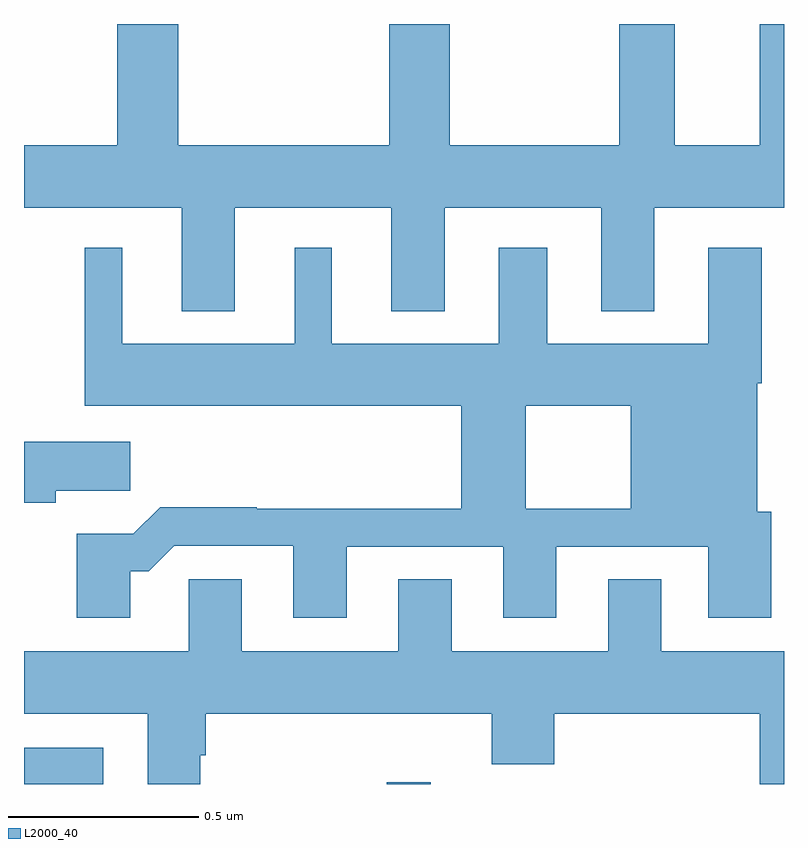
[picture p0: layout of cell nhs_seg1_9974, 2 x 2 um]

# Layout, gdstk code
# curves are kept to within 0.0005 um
import gdstk
lib = gdstk.Library(unit=1e-6, precision=1e-09)
def R(c, l, rs):  # rectangles x0, y0, x1, y1
    for r in rs: c.add(gdstk.rectangle(r[:2], r[2:], *l))
def P(c, l, *ps):  # polygons
    for p in ps: c.add(gdstk.Polygon(p, *l))
L2000_40 = (2000, 40)

nhs_seg1_9974 = lib.new_cell('nhs_seg1_9974')
R(nhs_seg1_9974, L2000_40, [(235,566.199,235.209,566.295), (235.955,566.199,236.07,566.203)])
P(nhs_seg1_9974, L2000_40, [(235.555,567.716),(235.967,567.716),(235.967,567.443),(236.107,567.443),(236.107,567.716),(236.519,567.716),(236.519,567.443),(236.659,567.443),(236.659,567.716),(237,567.716),(237,568.199),(236.936,568.199),(236.936,567.88),(236.713,567.88),(236.713,568.199),(236.566,568.199),(236.566,567.88),(236.121,567.88),(236.121,568.199),(235.961,568.199),(235.961,567.88),(235.406,567.88),(235.406,568.199),(235.246,568.199),(235.246,567.88),(235,567.88),(235,567.716),(235.415,567.716),(235.415,567.443),(235.555,567.443)],
  [(235.613,566.927),(235.358,566.927),(235.288,566.857),(235.139,566.857),(235.139,566.637),(235.279,566.637),(235.279,566.759),(235.328,566.759),(235.395,566.826),(235.709,566.826),(235.709,566.637),(235.849,566.637),(235.849,566.823),(236.261,566.823),(236.261,566.637),(236.401,566.637),(236.401,566.823),(236.801,566.823),(236.801,566.637),(236.966,566.637),(236.966,566.916),(236.929,566.916),(236.929,567.254),(236.942,567.254),(236.942,567.61),(236.801,567.61),(236.801,567.358),(236.377,567.358),(236.377,567.61),(236.249,567.61),(236.249,567.358),(235.81,567.358),(235.81,567.61),(235.712,567.61),(235.712,567.358),(235.258,567.358),(235.258,567.61),(235.16,567.61),(235.16,567.194),(236.15,567.194),(236.15,566.924),(236.32,566.924),(236.32,567.194),(236.597,567.194),(236.597,566.924),(235.613,566.924)],
  [(235.084,566.971),(235.279,566.971),(235.279,567.1),(235,567.1),(235,566.939),(235.084,566.939)],
  [(235.464,566.275),(235.478,566.275),(235.478,566.384),(236.231,566.384),(236.231,566.251),(236.396,566.251),(236.396,566.384),(236.936,566.384),(236.936,566.199),(237,566.199),(237,566.548),(236.677,566.548),(236.677,566.738),(236.537,566.738),(236.537,566.548),(236.125,566.548),(236.125,566.738),(235.985,566.738),(235.985,566.548),(235.573,566.548),(235.573,566.738),(235.434,566.738),(235.434,566.548),(235,566.548),(235,566.384),(235.325,566.384),(235.325,566.199),(235.464,566.199)])

lib.write_gds('nhs_seg1_9974.gds')
